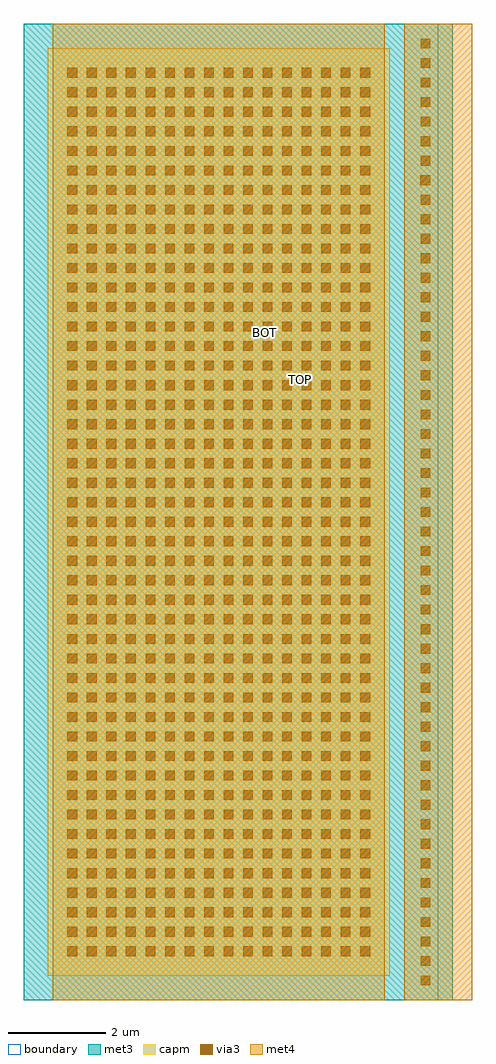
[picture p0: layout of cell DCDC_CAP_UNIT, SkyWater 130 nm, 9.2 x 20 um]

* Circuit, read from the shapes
.subckt DCDC_CAP_UNIT BOT TOP
XC1 BOT TOP sky130_fd_pr__cap_mim_m3_1 w=7 l=19
.ends

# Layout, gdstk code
import gdstk
lib = gdstk.Library(unit=1e-6, precision=1e-09)
def R(c, l, rs):  # rectangles x0, y0, x1, y1
    for r in rs: c.add(gdstk.rectangle(r[:2], r[2:], *l))
def A(c, l, x, y, w, h, nx, ny, dx, dy):  # array of equal rectangles
    R(c, l, [(x+i*dx, y+j*dy, x+i*dx+w, y+j*dy+h) for i in range(nx) for j in range(ny)])
met3 = (70, 20)
via3 = (70, 44)
met4 = (71, 20)
capm = (89, 44)
boundary = (235, 4)

dcdc_cap_unit = lib.new_cell('DCDC_CAP_UNIT')
R(dcdc_cap_unit, met3, [(0,0,8.8,20)])
A(dcdc_cap_unit, via3, 8.135, 0.3, 0.2, 0.2, 1, 41, 0, 0.4)
A(dcdc_cap_unit, via3, 0.9, 0.9, 0.2, 0.2, 16, 46, 0.4, 0.4)
A(dcdc_cap_unit, via3, 8.135, 17.1, 0.2, 0.2, 1, 7, 0, 0.4)
R(dcdc_cap_unit, via3, [(8.13,16.7,8.33,16.9)])
R(dcdc_cap_unit, met4, [(0.6,0,7.4,20), (7.8,0,9.2,20)])
R(dcdc_cap_unit, capm, [(0.5,0.5,7.5,19.5)])
R(dcdc_cap_unit, boundary, [(0,0,8.495,20)])
dcdc_cap_unit.add(gdstk.Label('BOT', (4.93,13.68), layer=71, texttype=5))
dcdc_cap_unit.add(gdstk.Label('TOP', (5.67,12.72), layer=70, texttype=5))

lib.write_gds('DCDC_CAP_UNIT.gds')
